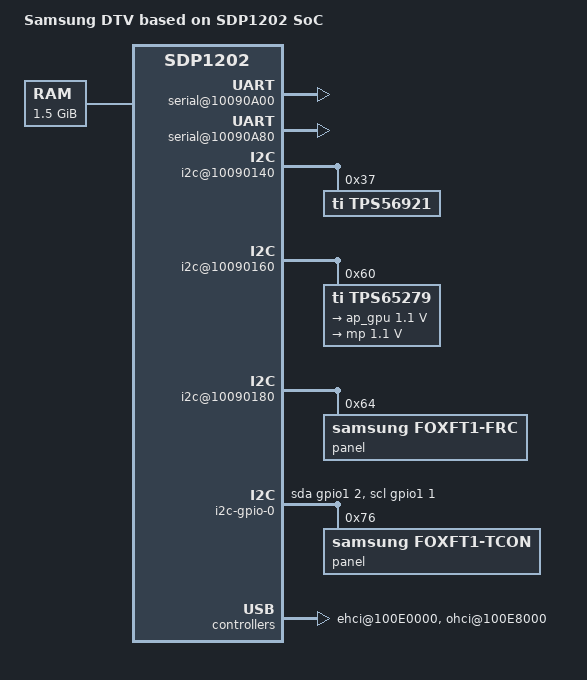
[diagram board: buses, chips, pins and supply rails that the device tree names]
/*
 * Copyright (C) 2013 Samsung Electronics Co.Ltd
 *
 * This program is free software; you can redistribute it and/or modify
 * it under the terms of the GNU General Public License version 2 as
 * published by the Free Software Foundation.
 */

/dts-v1/;
/include/ "sdp1202.dtsi"

/ {
	model = "Samsung DTV based on SDP1202 SoC";
	compatible = "samsung,dtv", "samsung,sdp1202";

	memory {
		reg =  <0x50000000 0x60000000>;
	};

	chosen {
		bootargs = "console=ttyS0,115200N8 root=/dev/mmcblk0p8 rootfstype=squashfs rw rootwait earlyprintk";
	};

	fixed-rate-clocks {
		fin {
			compatible = "samsung,sdp1202-clock-fin";
			clock-frequency = <24000000>;
		};
	};

	serial@10090A00 {
		status = "okay";
	};

	serial@10090A80 {
		compatible = "samsung,sdp1202-uart-micom";
		status = "okay";
	};

	i2c@10090100 {
		status = "disabled";
	};

	i2c@10090120 {
		status = "disabled";
	};

	i2c@10090140 {
		samsung,i2c-sda-delay = <1>;
		samsung,i2c-max-bus-freq = <400000>;
		samsung,i2c-irq-status-reg = <0x100901F4>;

		tps56921@37 {
			compatible = "ti,tps56921";
			reg = <0x37>;

			regulator-name = "AP_CPU_1.1V_PW";
			regulator-min-microvolt = <1130000>;
			regulator-max-microvolt = <1130000>;
			regulator-always-on;
			regulator-boot-on;
		};
	};

	i2c@10090160 {
		samsung,i2c-sda-delay = <1>;
		samsung,i2c-max-bus-freq = <400000>;
		samsung,i2c-irq-status-reg = <0x100901F4>;

		tps65279@0x60 {
			compatible = "ti,tps65279";
			reg = <0x60>;

			regulators {
				ap_gpu: VOUT1 {
					regulator-name = "AP_GPU_1.1V_PW";
					regulator-min-microvolt = <1100000>;
					regulator-max-microvolt = <1100000>;
					regulator-always-on;
					regulator-boot-on;
				};

				mp: VOUT2 {
					regulator-name = "MP_1.1V_PW";
					regulator-min-microvolt = <1100000>;
					regulator-max-microvolt = <1100000>;
					regulator-always-on;
					regulator-boot-on;
				};
			};
		};
	};

	i2c@10090180 {
		samsung,i2c-sda-delay = <1>;
		samsung,i2c-max-bus-freq = <400000>;
		samsung,i2c-irq-status-reg = <0x100901F4>;


		panel@64 {
			compatible = "samsung,foxft1-frc";
			reg = <0x64>;
		};
	};

	i2c@100901A0 {
		status = "disabled";
	};

	i2c@100901C0 {
		status = "disabled";
	};

	i2c@100901E0 {
		status = "disabled";
	};

	i2c-gpio-0 {
		compatible = "i2c-gpio";
		gpios = <&gpio1 2 0>, <&gpio1 1 0>;
		#address-cells = <1>;
		#size-cells = <0>;

		panel@76 {
			compatible = "samsung,foxft1-tcon";
			reg = <0x76>;
		};
	};

	dummy_panel {
		compatible = "dummy_panel";

		display-timings {
			native-mode = <&timing0>;

			timing0: timing-0 {
				 clock-frequency = <0>;
				 hactive = <1920>;
				 vactive = <1080>;
				 hfront-porch = <0>;
				 hback-porch = <0>;
				 hsync-len = <0>;
				 vfront-porch = <0>;
				 vback-porch = <0>;
				 vsync-len = <0>;
			};
		};
	};

	ehci@100E0000 {
		status = "okay";
	};

	ohci@100E8000 {
		status = "okay";
	};
};
